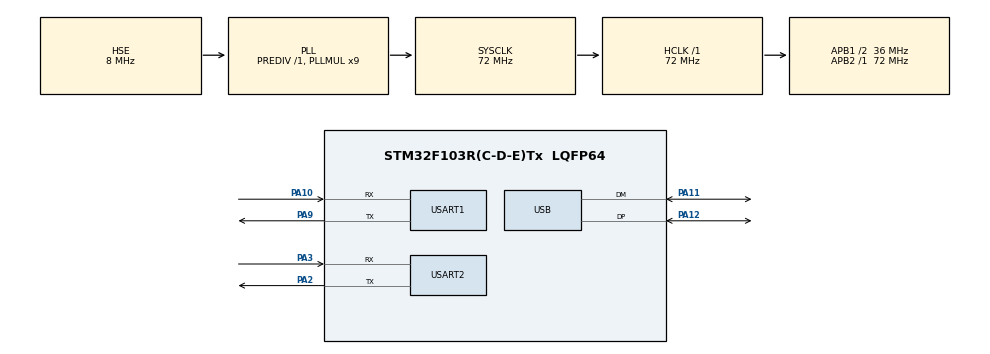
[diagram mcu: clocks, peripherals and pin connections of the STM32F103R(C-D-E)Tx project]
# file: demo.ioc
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Mcu.Family=STM32F1
Mcu.Name=STM32F103R(C-D-E)Tx
Mcu.Package=LQFP64
NVIC.PriorityGroup=NVIC_PRIORITYGROUP_4
NVIC.USB_LP_CAN1_RX0_IRQn=true\:0\:0\:false\:false\:true\:false\:true
PA10.Mode=Asynchronous
PA10.Signal=USART1_RX
PA11.Mode=Device
PA11.Signal=USB_DM
PA12.Mode=Device
PA12.Signal=USB_DP
PA13.Mode=Serial_Wire
PA13.Signal=SYS_JTMS-SWDIO
PA14.Mode=Serial_Wire
PA14.Signal=SYS_JTCK-SWCLK
PA2.Mode=Asynchronous
PA2.Signal=USART2_TX
PA3.Mode=Asynchronous
PA3.Signal=USART2_RX
PA9.Mode=Asynchronous
PA9.Signal=USART1_TX
PD0-OSC_IN.Mode=HSE-External-Oscillator
PD0-OSC_IN.Signal=RCC_OSC_IN
PD1-OSC_OUT.Mode=HSE-External-Oscillator
PD1-OSC_OUT.Signal=RCC_OSC_OUT
ProjectManager.HeapSize=0x800
ProjectManager.StackSize=0x800
ProjectManager.TargetToolchain=MDK-ARM V5
RCC.AHBFreq_Value=72000000
RCC.APB1CLKDivider=RCC_HCLK_DIV2
RCC.APB1Freq_Value=36000000
RCC.APB1TimFreq_Value=72000000
RCC.APB2Freq_Value=72000000
RCC.APB2TimFreq_Value=72000000
RCC.HCLKFreq_Value=72000000
RCC.PLLMUL=RCC_PLL_MUL9
RCC.PLLSourceVirtual=RCC_PLLSOURCE_HSE
RCC.SYSCLKFreq_VALUE=72000000
RCC.SYSCLKSource=RCC_SYSCLKSOURCE_PLLCLK
RCC.USBFreq_Value=48000000
RCC.USBPrescaler=RCC_USBCLKSOURCE_PLL_DIV1_5
USART1.VirtualMode=VM_ASYNC
USART2.VirtualMode=VM_ASYNC
USB_DEVICE.CLASS_NAME_FS=CDC
USB_DEVICE.VirtualMode=Cdc
USB_DEVICE.VirtualModeFS=Cdc_FS
VP_USB_DEVICE_VS_USB_DEVICE_CDC_FS.Mode=CDC_FS
board=custom

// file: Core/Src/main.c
/* USER CODE BEGIN Header */
/**
 ******************************************************************************
 * @file           : main.c
 * @brief          : Main program body
 ******************************************************************************
 * @attention
 *
 * <h2><center>&copy; Copyright (c) 2022 STMicroelectronics.
 * All rights reserved.</center></h2>
 *
 * This software component is licensed by ST under BSD 3-Clause license,
 * the "License"; You may not use this file except in compliance with the
 * License. You may obtain a copy of the License at:
 *                        opensource.org/licenses/BSD-3-Clause
 *
 ******************************************************************************
 */
/* USER CODE END Header */
#include "main.h"
#include "gpio.h"
#include "usart.h"
#include "usb_device.h"

/* USER CODE BEGIN Includes */
#include <stdarg.h>
#include <stdio.h>
#include "usbd_cdc_if.h"
/* USER CODE END Includes */

void SystemClock_Config(void);

/* USER CODE BEGIN 0 */

static uint8_t TxBuffer[APP_TX_DATA_SIZE] = {0};

void usb_printf(const char* format, ...) {
    va_list  args;
    uint32_t length;
    va_start(args, format);
    length = vsnprintf((char*)TxBuffer, APP_TX_DATA_SIZE, (char*)format, args);
    va_end(args);
    CDC_Transmit_FS(TxBuffer, length);
}

extern USBD_HandleTypeDef hUsbDeviceFS;

void get_vcp_status(void) {
    static uint8_t old_status = 0;
    if (hUsbDeviceFS.dev_state != old_status) {
        if (hUsbDeviceFS.dev_state == USBD_STATE_CONFIGURED)
            printf("connected\r\n");
        else if (hUsbDeviceFS.dev_state == USBD_STATE_SUSPENDED)
            printf("disconnected\r\n");
        // old_status = hUsbDeviceFS.dev_state;
    }
}

/* USER CODE END 0 */

int main(void) {

    /* MCU Configuration--------------------------------------------------------*/

    /* Reset of all peripherals, Initializes the Flash interface and the Systick. */
    HAL_Init();

    /* Configure the system clock */
    SystemClock_Config();

    /* Initialize all configured peripherals */
    MX_GPIO_Init();
    MX_USB_DEVICE_Init();
    MX_USART1_UART_Init();
    MX_USART2_UART_Init();

    /* Infinite loop */
    while (1) {

        /* USER CODE BEGIN 3 */
        HAL_Delay(1000);
        get_vcp_status();  // connection status
        usb_printf("hello world\r\n");
    }
    /* USER CODE END 3 */
}

void SystemClock_Config(void) {
    RCC_OscInitTypeDef       RCC_OscInitStruct = {0};
    RCC_ClkInitTypeDef       RCC_ClkInitStruct = {0};
    RCC_PeriphCLKInitTypeDef PeriphClkInit     = {0};

    /** Initializes the RCC Oscillators according to the specified parameters
     * in the RCC_OscInitTypeDef structure.
     */
    RCC_OscInitStruct.OscillatorType = RCC_OSCILLATORTYPE_HSE;
    RCC_OscInitStruct.HSEState       = RCC_HSE_ON;
    RCC_OscInitStruct.HSEPredivValue = RCC_HSE_PREDIV_DIV1;
    RCC_OscInitStruct.HSIState       = RCC_HSI_ON;
    RCC_OscInitStruct.PLL.PLLState   = RCC_PLL_ON;
    RCC_OscInitStruct.PLL.PLLSource  = RCC_PLLSOURCE_HSE;
    RCC_OscInitStruct.PLL.PLLMUL     = RCC_PLL_MUL9;
    if (HAL_RCC_OscConfig(&RCC_OscInitStruct) != HAL_OK) {
        Error_Handler();
    }
    /** Initializes the CPU, AHB and APB buses clocks
     */
    RCC_ClkInitStruct.ClockType      = RCC_CLOCKTYPE_HCLK | RCC_CLOCKTYPE_SYSCLK | RCC_CLOCKTYPE_PCLK1 | RCC_CLOCKTYPE_PCLK2;
    RCC_ClkInitStruct.SYSCLKSource   = RCC_SYSCLKSOURCE_PLLCLK;
    RCC_ClkInitStruct.AHBCLKDivider  = RCC_SYSCLK_DIV1;
    RCC_ClkInitStruct.APB1CLKDivider = RCC_HCLK_DIV2;
    RCC_ClkInitStruct.APB2CLKDivider = RCC_HCLK_DIV1;

    if (HAL_RCC_ClockConfig(&RCC_ClkInitStruct, FLASH_LATENCY_2) != HAL_OK) {
        Error_Handler();
    }
    PeriphClkInit.PeriphClockSelection = RCC_PERIPHCLK_USB;
    PeriphClkInit.UsbClockSelection    = RCC_USBCLKSOURCE_PLL_DIV1_5;
    if (HAL_RCCEx_PeriphCLKConfig(&PeriphClkInit) != HAL_OK) {
        Error_Handler();
    }
}

void Error_Handler(void) {
}

/************************ (C) COPYRIGHT STMicroelectronics *****END OF FILE****/
